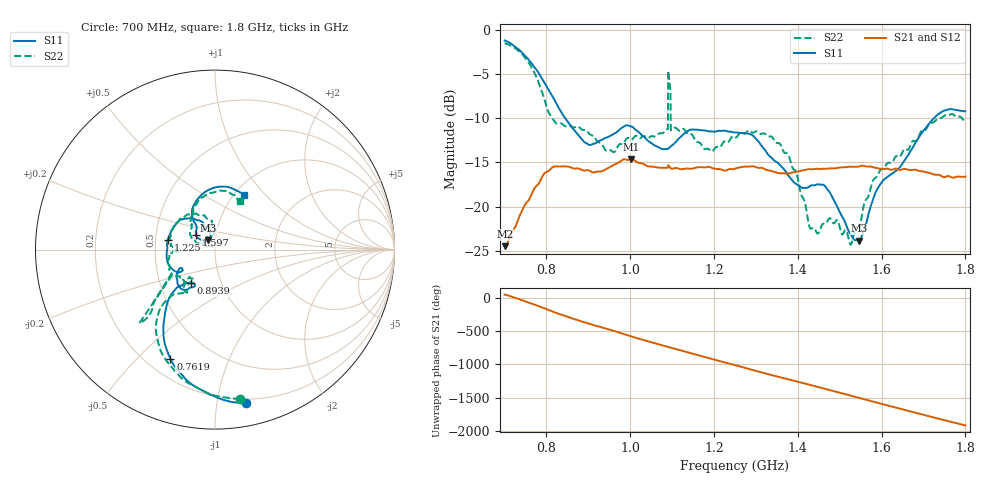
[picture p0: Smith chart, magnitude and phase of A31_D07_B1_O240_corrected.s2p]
! Created with skrf 1.9.0 (http://scikit-rf.org).
# Hz S RI R 50.0
!freq ReS11 ImS11 ReS21 ImS21 ReS12 ImS12 ReS22 ImS22
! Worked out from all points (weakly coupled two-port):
!   1601 points, 700 MHz to 1.8 GHz, reference 50 ohm
!   highest |S21| = -14.63 dB at 1.002 GHz (marker M1); lowest = -24.5 dB at 700.7 MHz (marker M2)
!   lowest |S11| = -23.9 dB at 1.546 GHz (marker M3), VSWR 1.14, Z = 46.2 + j4.87 ohm
!   |S11| at or under -10 dB: 845 MHz to 1.725 GHz (879.8 MHz wide, 68.5 % of centre)
!   |S22| runs from -24.3 to -1.5 dB; largest |S21 - S12| = 0.0035
!   S11 on the Smith chart (normalised r, x): 700 MHz: 0.17, -1.21; 761.9 MHz: 0.29, -0.63; 893.9 MHz: 0.72, -0.28; 1.225 GHz: 0.58, +0.07; 1.597 GHz: 0.80, +0.13; 1.8 GHz: 1.11, +0.77
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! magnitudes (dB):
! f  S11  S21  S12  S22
! 700 MHz  -1.2  -24.5  -24.3  -1.5
! 700.7 MHz  -1.2  -24.5  -24.2  -1.5
! 761.9 MHz  -3.6  -18.9  -18.8  -4.0
! 818.2 MHz  -7.9  -15.5  -15.6  -10.3
! 883.6 MHz  -12.3  -15.8  -15.7  -11.3
! 893.9 MHz  -12.8  -15.9  -16.0  -11.3
! 944.8 MHz  -12.2  -15.7  -15.7  -13.7
! 1.002 GHz  -10.9  -14.6  -14.7  -12.4
! 1.067 GHz  -13.3  -15.6  -15.5  -11.8
! 1.096 GHz  -13.2  -15.6  -15.6  -6.9
! 1.102 GHz  -13.0  -15.7  -15.6  -11.2
! 1.225 GHz  -11.4  -15.9  -15.9  -12.6
! 1.25 GHz  -11.6  -15.7  -15.6  -12.1
! 1.357 GHz  -15.3  -16.2  -16.2  -12.9
! 1.434 GHz  -17.6  -15.8  -15.8  -22.5
! 1.469 GHz  -17.9  -15.7  -15.7  -21.8
! 1.526 GHz  -23.1  -15.5  -15.5  -24.3
! 1.546 GHz  -23.9  -15.5  -15.4  -22.3
! 1.597 GHz  -17.4  -15.7  -15.7  -15.9
! 1.617 GHz  -16.5  -15.8  -15.7  -15.0
! 1.733 GHz  -9.6  -16.4  -16.4  -10.1
! 1.8 GHz  -9.2  -16.6  -16.6  -10.3
